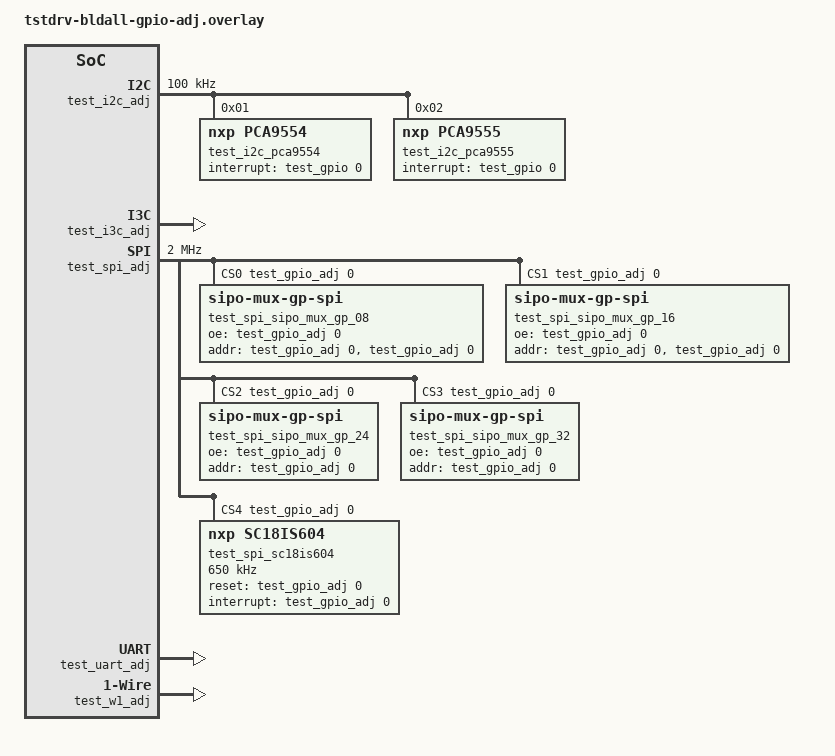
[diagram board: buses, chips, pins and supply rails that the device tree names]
/*
 * Copyright (c) 2024 TiaC Systems
 *
 * SPDX-License-Identifier: Apache-2.0
 *
 * Snipped overlay for testing driver builds
 *
 * Names in this file should be chosen in a way that won't conflict
 * with real-world devicetree nodes, to allow these tests to run on
 * (and be extended to test) real hardware.
 */

/ {
	test: test {};
};

&test {
	test_gpio_adj: gpio@feedface {
		compatible = "vnd,gpio";
		status = "okay";
		reg = <0xfeedface 0x1000>;
		gpio-controller;
		#gpio-cells = <0x2>;
	};

	test_i2c_adj: i2c@aaaabbbb {
		compatible = "vnd,i2c";
		status = "okay";
		reg = <0xaaaabbbb 0x1000>;
		#address-cells = <1>;
		#size-cells = <0>;
		clock-frequency = <100000>;

		test_i2c_pca9554: pca9554@1 {
			compatible = "nxp,pca9554";
			reg = <0x1>;
			gpio-controller;
			#gpio-cells = <2>;
			ngpios = <8>;
			interrupt-gpios = <&test_gpio 0 0>;
			rst-dflts;
		};

		test_i2c_pca9555: pca9555@2 {
			compatible = "nxp,pca9555";
			reg = <0x2>;
			gpio-controller;
			#gpio-cells = <2>;
			ngpios = <16>;
			interrupt-gpios = <&test_gpio 0 0>;
			rst-dflts;
		};
	};

	test_i3c_adj: i3c@bbbbaaaa {
		compatible = "vnd,i3c";
		status = "okay";
		reg = <0xbbbbaaaa 0x1000>;
		#address-cells = <3>;
		#size-cells = <0>;
	};

	test_spi_adj: spi@ccccdddd {
		compatible = "vnd,spi";
		status = "okay";
		reg = <0xccccdddd 0x1000>;
		#address-cells = <1>;
		#size-cells = <0>;
		clock-frequency = <2000000>;

		/* one entry for every devices */
		cs-gpios = <&test_gpio_adj 0 0>,
			   <&test_gpio_adj 0 0>,
			   <&test_gpio_adj 0 0>,
			   <&test_gpio_adj 0 0>,
			   <&test_gpio_adj 0 0>;

		test_spi_sipo_mux_gp_08: sipo-mux-gp-08@0 {
			compatible = "sipo-mux-gp-spi";
			status = "okay";
			reg = <0x0>;
			spi-max-frequency = <0>;
			refresh-time-us = <500>;
			#address-cells = <1>;
			#size-cells = <0>;
			shift-width = <8>;
			data-width = <8>;
			oe-gpios = <&test_gpio_adj 0 0>;
			addr-gpios = <&test_gpio_adj 0 0>,
				     <&test_gpio_adj 0 0>;

			test_spi_sipo_mux_08_gpio_0: sipo-mux-08-gpio@0 {
				compatible = "sipo-mux-gpio";
				status = "okay";
				reg = <0>;
				gpio-controller;
				#gpio-cells = <2>;
				ngpios = <8>;
				offset = <0>;
			};

			test_spi_sipo_mux_08_gpio_1: sipo-mux-08-gpio@1 {
				compatible = "sipo-mux-gpio";
				status = "okay";
				reg = <1>;
				gpio-controller;
				#gpio-cells = <2>;
				ngpios = <8>;
				offset = <8>;
			};

			test_spi_sipo_mux_08_gpio_2: sipo-mux-08-gpio@2 {
				compatible = "sipo-mux-gpio";
				status = "okay";
				reg = <2>;
				gpio-controller;
				#gpio-cells = <2>;
				ngpios = <8>;
				offset = <16>;
			};

			test_spi_sipo_mux_08_gpio_3: sipo-mux-08-gpio@3 {
				compatible = "sipo-mux-gpio";
				status = "okay";
				reg = <3>;
				gpio-controller;
				#gpio-cells = <2>;
				ngpios = <8>;
				offset = <24>;
			};
		};

		test_spi_sipo_mux_gp_16: sipo-mux-gp-16@1 {
			compatible = "sipo-mux-gp-spi";
			status = "okay";
			reg = <0x1>;
			spi-max-frequency = <0>;
			refresh-time-us = <500>;
			#address-cells = <1>;
			#size-cells = <0>;
			shift-width = <16>;
			data-width = <8>;
			oe-gpios = <&test_gpio_adj 0 0>;
			addr-gpios = <&test_gpio_adj 0 0>,
				     <&test_gpio_adj 0 0>;

			test_spi_sipo_mux_16_gpio_0: sipo-mux-16-gpio@0 {
				compatible = "sipo-mux-gpio";
				status = "okay";
				reg = <0>;
				gpio-controller;
				#gpio-cells = <2>;
				ngpios = <8>;
				offset = <0>;
			};

			test_spi_sipo_mux_16_gpio_1: sipo-mux-16-gpio@1 {
				compatible = "sipo-mux-gpio";
				status = "okay";
				reg = <1>;
				gpio-controller;
				#gpio-cells = <2>;
				ngpios = <8>;
				offset = <8>;
			};

			test_spi_sipo_mux_16_gpio_2: sipo-mux-16-gpio@2 {
				compatible = "sipo-mux-gpio";
				status = "okay";
				reg = <2>;
				gpio-controller;
				#gpio-cells = <2>;
				ngpios = <8>;
				offset = <16>;
			};

			test_spi_sipo_mux_16_gpio_3: sipo-mux-16-gpio@3 {
				compatible = "sipo-mux-gpio";
				status = "okay";
				reg = <3>;
				gpio-controller;
				#gpio-cells = <2>;
				ngpios = <8>;
				offset = <24>;
			};
		};

		test_spi_sipo_mux_gp_24: sipo-mux-gp-24@2 {
			compatible = "sipo-mux-gp-spi";
			status = "okay";
			reg = <0x2>;
			spi-max-frequency = <0>;
			refresh-time-us = <500>;
			#address-cells = <1>;
			#size-cells = <0>;
			shift-width = <24>;
			data-width = <16>;
			oe-gpios = <&test_gpio_adj 0 0>;
			addr-gpios = <&test_gpio_adj 0 0>;

			test_spi_sipo_mux_24_gpio_0: sipo-mux-24-gpio@0 {
				compatible = "sipo-mux-gpio";
				status = "okay";
				reg = <0>;
				gpio-controller;
				#gpio-cells = <2>;
				ngpios = <16>;
				offset = <0>;
			};

			test_spi_sipo_mux_24_gpio_1: sipo-mux-24-gpio@1 {
				compatible = "sipo-mux-gpio";
				status = "okay";
				reg = <1>;
				gpio-controller;
				#gpio-cells = <2>;
				ngpios = <16>;
				offset = <16>;
			};
		};

		test_spi_sipo_mux_gp_32: sipo-mux-gp-32@3 {
			compatible = "sipo-mux-gp-spi";
			status = "okay";
			reg = <0x3>;
			spi-max-frequency = <0>;
			refresh-time-us = <500>;
			#address-cells = <1>;
			#size-cells = <0>;
			shift-width = <32>;
			data-width = <24>;
			oe-gpios = <&test_gpio_adj 0 0>;
			addr-gpios = <&test_gpio_adj 0 0>;

			test_spi_sipo_mux_32_gpio_0: sipo-mux-32-gpio@0 {
				compatible = "sipo-mux-gpio";
				status = "okay";
				reg = <0>;
				gpio-controller;
				#gpio-cells = <2>;
				ngpios = <24>;
				offset = <0>;
			};

			test_spi_sipo_mux_32_gpio_1: sipo-mux-32-gpio@1 {
				compatible = "sipo-mux-gpio";
				status = "okay";
				reg = <1>;
				gpio-controller;
				#gpio-cells = <2>;
				ngpios = <24>;
				offset = <24>;
			};
		};

		test_spi_sc18is604: sc18is604-spi@4 {
			compatible = "nxp,sc18is604";
			status = "okay";
			reg = <0x4>;
			spi-max-frequency = <650000>;
			reset-gpios = <&test_gpio_adj 0 0>;
			interrupt-gpios = <&test_gpio_adj 0 0>;

			test_spi_sc18is604_gpio: sc18is604-spi-gpio {
				compatible = "nxp,sc18is604-gpio";
				status = "okay";
				gpio-controller;
				#gpio-cells = <2>;
				ngpios = <5>;
			};
		};
	};

	test_uart_adj: uart@eeeeffff {
		compatible = "vnd,serial";
		status = "okay";
		reg = <0xeeeeffff 0x1000>;
	};

	test_w1_adj: w1@ffffeeee {
		compatible = "vnd,w1";
		status = "okay";
		reg = <0xffffeeee 0x1000>;
		#address-cells = <1>;
		#size-cells = <0>;
		ranges = <0 0>;
	};
};
